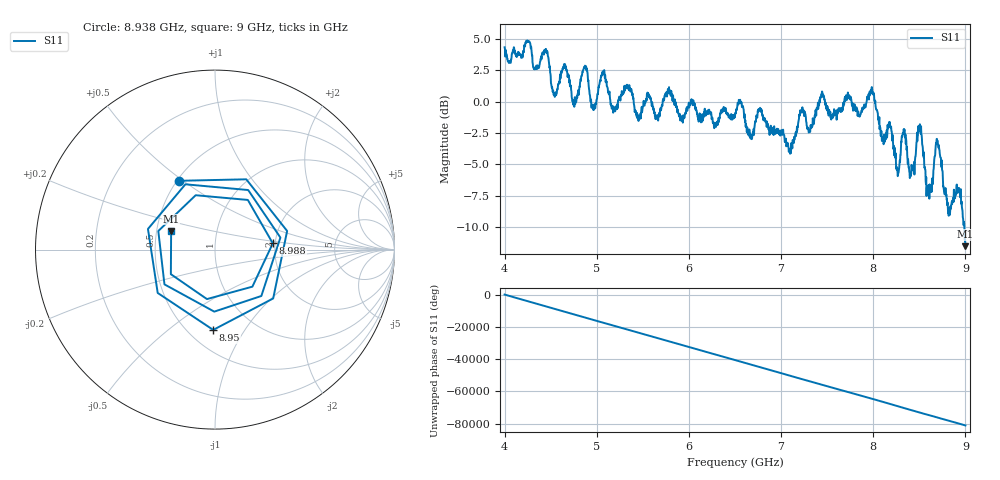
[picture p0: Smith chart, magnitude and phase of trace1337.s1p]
! Created with skrf 1.8.0 (http://scikit-rf.org).
# Hz S RI R 50.0
!freq ReS11 ImS11
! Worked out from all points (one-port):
!   1601 points, 4 GHz to 9 GHz, reference 50 ohm
!   lowest |S11| = -11.5 dB at 9 GHz (marker M1), VSWR 1.72, Z = 29.8 + j6.61 ohm
!   |S11| at or under -10 dB: 8.988729 GHz to end of sweep
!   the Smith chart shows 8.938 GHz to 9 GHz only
!   S11 on the Smith chart (normalised r, x): 8.938 GHz: 0.51, +0.48; 8.95 GHz: 0.66, -0.73; 8.988 GHz: 1.94, +0.15; 9 GHz: 0.60, +0.13
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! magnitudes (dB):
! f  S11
! 4 GHz  4.3
! 4.447 GHz  4.1
! 4.544 GHz  0.4
! 4.625 GHz  2.4
! 4.753 GHz  -0.1
! 4.869 GHz  2.7
! 4.959 GHz  -0.4
! 5.069 GHz  2.3
! 5.175 GHz  -0.7
! 5.25 GHz  0.3
! 5.875 GHz  -0.6
! 6.5 GHz  -1.1
! 7.125 GHz  -3.1
! 7.222 GHz  -0.9
! 7.75 GHz  0.2
! 7.988 GHz  1.0
! 8.259 GHz  -5.3
! 8.328 GHz  -2.5
! 8.375 GHz  -5.0
! 8.422 GHz  -5.4
! 8.5 GHz  -2.1
! 8.603 GHz  -6.9
! 8.7 GHz  -3.2
! 8.819 GHz  -9.1
! 8.938 GHz  -7.3
! 8.95 GHz  -7.0
! 8.988 GHz  -9.8
! 9 GHz  -11.5
